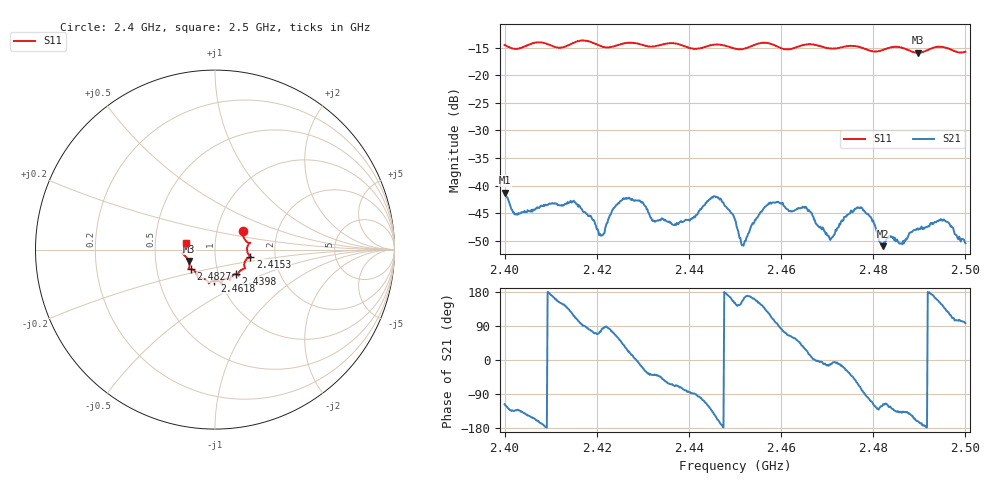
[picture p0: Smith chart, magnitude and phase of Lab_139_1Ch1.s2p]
# Hz S RI R 50
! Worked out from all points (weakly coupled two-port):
!   601 points, 2.4 GHz to 2.5 GHz, reference 50 ohm
!   highest |S21| = -41.25 dB at 2.4 GHz (marker M1); lowest = -51.0 dB at 2.4822 GHz (marker M2)
!   lowest |S11| = -15.9 dB at 2.4897 GHz (marker M3), VSWR 1.38, Z = 36.9 - j4.83 ohm
!   |S11| at or under -10 dB: start of sweep to end of sweep
!   S12 and S22 are empty: the file has one direction only
!   S11 on the Smith chart (normalised r, x): 2.4 GHz: 1.33, +0.29; 2.4153 GHz: 1.48, -0.12; 2.4398 GHz: 1.21, -0.34; 2.4618 GHz: 0.94, -0.33; 2.4827 GHz: 0.75, -0.17; 2.5 GHz: 0.72, +0.06
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2.4e9  0.1555 0.1064  -0.0039 -0.00773  0 0  0 0
2.402667e9  0.1618 0.0637  -0.00378 -0.00409  0 0  0 0
2.415333e9  0.1967 -0.0391  -0.00256 0.00659  0 0  0 0
2.416667e9  0.2024 -0.0431  -0.00047 0.00618  0 0  0 0
2.421e9  0.1754 -0.0534  0.000694 0.00348  0 0  0 0
2.426167e9  0.1673 -0.102  0.00635 0.0042  0 0  0 0
2.433333e9  0.1301 -0.1337  0.00364 -0.00321  0 0  0 0
2.439833e9  0.1156 -0.136  0.000597 -0.00486  0 0  0 0
2.445833e9  0.0843 -0.1707  -0.00677 -0.00397  0 0  0 0
2.45e9  0.0651 -0.1622  -0.0043 0.00242  0 0  0 0
2.451833e9  0.0457 -0.1674  -0.00267 0.001  0 0  0 0
2.457167e9  0.0389 -0.1924  -0.00388 0.00552  0 0  0 0
2.461833e9  -0.00339 -0.1725  0.00256 0.00533  0 0  0 0
2.466667e9  -0.0346 -0.188  0.00557 0.000635  0 0  0 0
2.470833e9  -0.0566 -0.1654  0.00324 -0.000597  0 0  0 0
2.477167e9  -0.0969 -0.1518  0.002 -0.00595  0 0  0 0
2.482167e9  -0.1302 -0.1098  -0.00125 -0.00254  0 0  0 0
2.482667e9  -0.1349 -0.1087  -0.00132 -0.00282  0 0  0 0
2.483333e9  -0.14 -0.1085  -0.00192 -0.00287  0 0  0 0
2.489667e9  -0.1469 -0.0637  -0.00388 -0.0013  0 0  0 0
2.495167e9  -0.1794 -0.0191  -0.00381 0.00298  0 0  0 0
2.5e9  -0.1592 0.0386  -0.000377 0.00298  0 0  0 0
